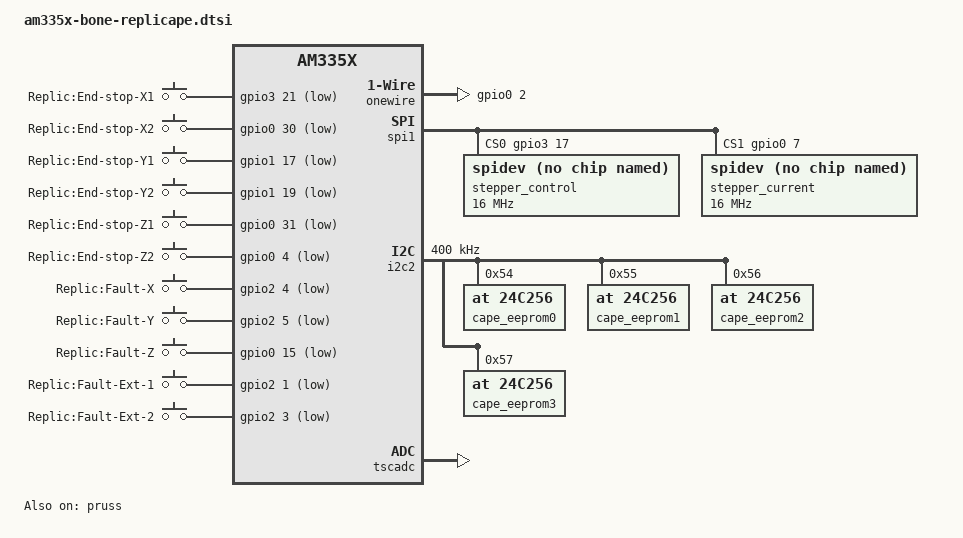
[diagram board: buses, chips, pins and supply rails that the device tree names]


/ {
       ocp {

               P8_8_pinmux  {status = "disabled"; }; /* FAULT_EXT_2 */
               P8_9_pinmux  {status = "disabled"; }; /* FAULT_Y     */
               P8_10_pinmux {status = "disabled"; }; /* FAULT_X     */
               P8_11_pinmux {status = "disabled"; }; /* STEP_EXT_2  */
               P8_12_pinmux {status = "disabled"; }; /* STEP_Y      */
               P8_13_pinmux {status = "disabled"; }; /* STEP_Z      */
               P8_14_pinmux {status = "disabled"; }; /* DIR_Z       */
               P8_15_pinmux {status = "disabled"; }; /* DIR_EXT_1   */
               P8_16_pinmux {status = "disabled"; }; /* DIR_EXT_2   */
               P8_17_pinmux {status = "disabled"; }; /* STEP_X      */
               P8_18_pinmux {status = "disabled"; }; /* FAULT_EXT_1 */
               P8_19_pinmux {status = "disabled"; }; /* DIR_Y       */
               P8_26_pinmux {status = "disabled"; }; /* DIR_X       */

               P9_11_pinmux {status = "disabled"; }; /* END_STOP_X2 */
               P9_12_pinmux {status = "disabled"; }; /* STEP_EXT_1  */
               P9_13_pinmux {status = "disabled"; }; /* END_STOP_Z1 */
               P9_16_pinmux {status = "disabled"; }; /* END_STOP_Y2 */
               P9_18_pinmux {status = "disabled"; }; /* END_STOP_Z2 */
               P9_22_pinmux {status = "disabled"; }; /* Dallas 1W   */
               P9_23_pinmux {status = "disabled"; }; /* END_STOP_Y1 */
               P9_24_pinmux {status = "disabled"; }; /* FAULT_Z     */
               P9_25_pinmux {status = "disabled"; }; /* END_STOP_X1 */
               P9_28_pinmux {status = "disabled"; }; /* SPI1_CS0    */
               P9_29_pinmux {status = "disabled"; }; /* SPI1_MISO   */
               P9_30_pinmux {status = "disabled"; }; /* SPI1_MOSI   */
               P9_31_pinmux {status = "disabled"; }; /* SPI1_SCLK   */
               P9_33_pinmux {status = "disabled"; }; /* AIN4        */
               P9_35_pinmux {status = "disabled"; }; /* AIN6        */
               P9_36_pinmux {status = "disabled"; }; /* AIN5        */
               P9_42_pinmux {status = "disabled"; }; /* SPI1_CS1    */
       };
};

/ {
       gpio_keys {
               compatible = "gpio-keys";
               pinctrl-names = "default";
               pinctrl-0 = <&end_stop_pins>;
               pinctrl-1 = <&stepper_fault_pins>;
               #address-cells = <1>;
               #size-cells = <0>;

               switch_x1 {
                   label               = "Replic:End-stop-X1";
                   debounce_interval   = <50>;
                   linux,code          = <112>;
                   gpios               = <&gpio3 21 0x5>;
                   gpio-key,wakeup;
               };
               switch_x2 {
                   label               = "Replic:End-stop-X2";
                   debounce_interval   = <50>;
                   linux,code          = <113>;
                   gpios               = <&gpio0 30 0x5>;
                   gpio-key,wakeup;
               };
               switch_y1 {
                   label               = "Replic:End-stop-Y1";
                   debounce_interval   = <50>;
                   linux,code          = <114>;
                   gpios               = <&gpio1 17 0x5>;
                   gpio-key,wakeup;
               };
               switch_y2 {
                   label               = "Replic:End-stop-Y2";
                   debounce_interval   = <50>;
                   linux,code          = <115>;
                   gpios               = <&gpio1 19 0x5>;
                   gpio-key,wakeup;
               };
               switch_z1 {
                   label               = "Replic:End-stop-Z1";
                   debounce_interval   = <50>;
                   linux,code          = <116>;
                   gpios               = <&gpio0 31 0x5>;
                   gpio-key,wakeup;
               };
               switch_z2 {
                   label               = "Replic:End-stop-Z2";
                   debounce_interval   = <50>;
                   linux,code          = <117>;
                   gpios               = <&gpio0 4 0x5>;
                   gpio-key,wakeup;
               };
               fault_x {
                   label               = "Replic:Fault-X";
                   debounce_interval   = <50>;
                   linux,code          = <90>;
                   gpios               = <&gpio2 4 0x5>;
                   gpio-key,wakeup;
               };
               fault_y {
                   label               = "Replic:Fault-Y";
                   debounce_interval   = <50>;
                   linux,code          = <91>;
                   gpios               = <&gpio2 5 0x5>;
                   gpio-key,wakeup;
               };
               fault_z {
                   label               = "Replic:Fault-Z";
                   debounce_interval   = <50>;
                   linux,code          = <92>;
                   gpios               = <&gpio0 15 0x5>;
                   gpio-key,wakeup;
               };
               fault_ext_1 {
                   label               = "Replic:Fault-Ext-1";
                   debounce_interval   = <50>;
                   linux,code          = <93>;
                   gpios               = <&gpio2 1 0x5>;
                   gpio-key,wakeup;
               };
               fault_ext_2 {
                   label               = "Replic:Fault-Ext-2";
                   debounce_interval   = <50>;
                   linux,code          = <94>;
                   gpios               = <&gpio2 3 0x5>;
                   gpio-key,wakeup;
               };
       };

       onewire {
               compatible      = "w1-gpio";
               pinctrl-names   = "default";
               pinctrl-0       = <&dallas_w1_pins>;
               status          = "okay";
               gpios           = <&gpio0 2 0>;
       };
};





&am33xx_pinmux {
       i2c2_pins: pinmux_i2c2_pins {
               pinctrl-single,pins = <
                       0x17c 0x73
                       0x178 0x73
               >;
       };
       bone_replicape_spi1_pins: pinmux_replicape_spi1_pins {
                pinctrl-single,pins = <
                        0x190 0x13      /* P9_31 = mcasp0_aclkx.spi1_sclk                                , OUTPUT_PULLUP | MODE3 */
                        0x194 0x33      /* P9_29 = mcasp0_fsx.spi1_d0                                    , INPUT_PULLUP  | MODE3 */
                        0x198 0x13      /* P9_30 = mcasp0_axr0.spi1_d1                                   , OUTPUT_PULLUP | MODE3 */
                        0x19c 0x13      /* P9_28 = mcasp0_ahclkr.spi1_cs0                                , OUTPUT_PULLUP | MODE3 */
                        0x164 0x12  /* P9_42 = GPIO0_7 =  eCAP0_in_PWM0_out.gpio0[7] , OUTPUT_PULLUP | MODE2 */
                >;
        };
       pruicss_stepper_pins: pinmux_pruicss_stepper_pins{
                pinctrl-single,pins = <
                        0x038 0x07 // P8_16 (3)  = DIR_EXT_2    = GPIO1_14
                        0x03C 0x07 // P8_15 (4)  = DIR_EXT_1    = GPIO1_15
                        0x028 0x07 // P8_14 (5)  = DIR_Z                = GPIO0_26
                        0x02C 0x07 // P8_17 (6)  = STEP_X               = GPIO0_27
                        0x034 0x07 // P8_11 (22) = step_ext_2   = GPIO1_13
                        0x030 0x07 // P8_12 (23) = Step_y               = GPIO1_12
                        0x024 0x07 // P8_13 (24) = Step_z               = GPIO0_23
                        0x020 0x07 // P8_19 (25) = Dir_y                = GPIO0_22
                        0x07C 0x07 // P8_26      = Dir_x                = GPIO1_29
                        0x078 0x07 // P9_12      = step ext 1   = GPIO1_28
                >;
        };

        stepper_fault_pins: pinmux_stepper_fault_pins{
                pinctrl-single,pins = <
                        0x094 0x37 // P8_8  = Fault Ext 2       = GPIO2_3    gpmc_oen_ren.gpio2[3]
                        0x09C 0x37 // P8_9  = FAYLT Y           = GPIO2_5
                        0x098 0x37 // P8_10 = FAULT X           = GPIO2_4    gpmc_wen.gpio2[4]
                        0x08C 0x37 // P8_18 = Fault_ext 1       = GPIO2_1
                        0x184 0x37 // P9_24 = Fault Z           = GPIO0_15
                >;
        };

        end_stop_pins: pinmux_end_stop_pins{
                pinctrl-single,pins = <
                        0x1AC 0x37 // P9_25 = End stop X1  = GPIO3_21
                        0x070 0x37 // P9_11 = End stop X2  = GPIO0_30
                        0x044 0x37 // P9_23 = End stop Y1  = GPIO1_17
                        0x04C 0x37 // P9_16 = End stop Y2  = GPIO1_19
                        0x074 0x37 // P9_13 = End stop Z1  = GPIO0_31
                        0x158 0x37 // P9_18 = End stop Z2  = GPIO0_4
                >;
        };
        dallas_w1_pins: pinmux_dallas_w1_pins {
                pinctrl-single,pins = <
                                0x150 0x37      // Dallas 1W
                >;
        };
};

&spi1 {
        #address-cells  = <1>;
        #size-cells     = <0>;
        status                  = "okay";
        pinctrl-names   = "default";
        pinctrl-0               = <&bone_replicape_spi1_pins>;
        cs-gpios                = <&gpio3 17 0>, <&gpio0 7 0>;

        stepper_control{
                #address-cells    = <1>;
                #size-cells       = <0>;
                compatible                = "spidev";
                reg                       = <0>;
                spi-max-frequency = <16000000>;
                spi-cpha;                 // Stepper control has mode 1 (CPOL = 0, CPHA = 1)
        };

        stepper_current{
                #address-cells    = <1>;
                #size-cells       = <0>;
                compatible                = "spidev";
                reg                       = <1>;
                spi-max-frequency = <16000000>;
                // Stepper current has mode 0 (CPOL = 0, CPHA = 0)
        };
};

&i2c2 {
       status = "okay";
       pinctrl-names = "default";
       pinctrl-0 = <&i2c2_pins>;

       clock-frequency = <400000>;

       cape_eeprom0: cape_eeprom0@54 {
               compatible = "at,24c256";
               reg = <0x54>;
       };

       cape_eeprom1: cape_eeprom1@55 {
               compatible = "at,24c256";
               reg = <0x55>;
       };

       cape_eeprom2: cape_eeprom2@56 {
               compatible = "at,24c256";
               reg = <0x56>;
       };

       cape_eeprom3: cape_eeprom3@57 {
               compatible = "at,24c256";
               reg = <0x57>;
       };
};

/* Touch Screen (stolen from Pepper) */
&tscadc {
       status = "okay";
       adc {
               ti,adc-channels = <4 5 6 7>;
       };
};


&pruss {
        status = "okay";
        pinctrl-names = "default";
        pinctrl-0         = <&pruicss_stepper_pins>;

        stepper_x{
                pin-names       = "Replic:pru-step_x", "Replic:pru-dir_x";
                gpios           = <&gpio0 27 0
                                           &gpio1 29 0>;
        };
        stepper_y{
                pin-names       = "Replic:pru-step_y", "Replic:pru-dir_y";
                gpios           =<&gpio1 12 0
                                          &gpio0 22 0>;
        };
        stepper_z{
                pin-names       = "Replic:pru-step_z", "Replic:pru-dir_z";
                gpios           = <&gpio0 23 0
                                           &gpio0 26 0>;
        };
        stepper_ext_1{
                pin-names       = "Replic:pru-step_ext_1", "Replic:pru-dir_ext_1";
                gpios           = <&gpio1 28 0
                                           &gpio1 15 0>;
        };
        stepper_ext_2{
                pin-names       = "Replic:pru-step_ext_2", "Replic:pru-dir_ext_2";
                gpios           = <&gpio1 13 0
                                           &gpio1 14 0>;
        };
};
